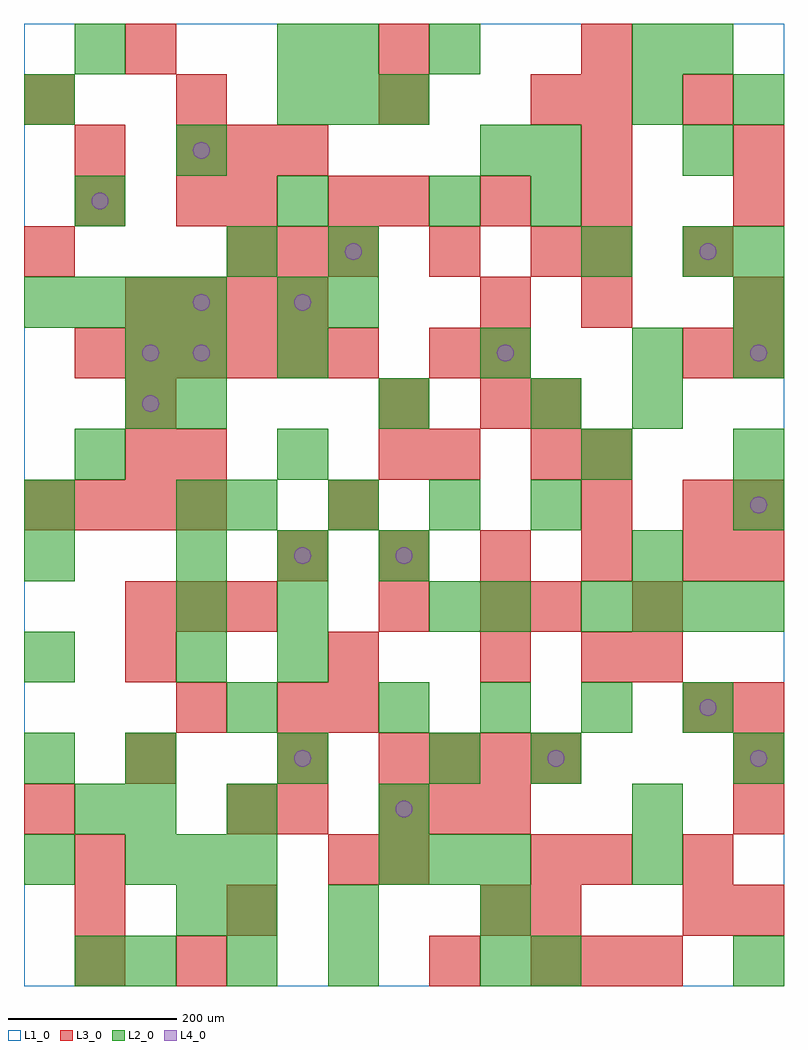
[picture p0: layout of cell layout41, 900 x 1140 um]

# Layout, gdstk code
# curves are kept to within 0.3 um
import gdstk
lib = gdstk.Library(unit=1e-6, precision=1e-09)
def R(c, l, rs):  # rectangles x0, y0, x1, y1
    for r in rs: c.add(gdstk.rectangle(r[:2], r[2:], *l))
def A(c, l, x, y, w, h, nx, ny, dx, dy):  # array of equal rectangles
    R(c, l, [(x+i*dx, y+j*dy, x+i*dx+w, y+j*dy+h) for i in range(nx) for j in range(ny)])
def P(c, l, *ps):  # polygons
    for p in ps: c.add(gdstk.Polygon(p, *l))
L1_0 = (1, 0)
L2_0 = (2, 0)
L3_0 = (3, 0)
L4_0 = (4, 0)

layout41 = lib.new_cell('layout41')
R(layout41, L1_0, [(0,0,900,1140)])
A(layout41, L2_0, 120, 0, 60, 60, 3, 1, 120, 0)
A(layout41, L2_0, 240, 60, 60, 60, 1, 3, 0, 120)
A(layout41, L2_0, 0, 120, 60, 60, 1, 4, 0, 120)
A(layout41, L2_0, 120, 120, 60, 60, 3, 1, 60, 0)
A(layout41, L2_0, 420, 120, 60, 60, 3, 1, 60, 0)
A(layout41, L2_0, 120, 240, 60, 60, 3, 1, 180, 0)
A(layout41, L2_0, 420, 300, 60, 60, 4, 1, 120, 0)
A(layout41, L2_0, 180, 420, 60, 60, 1, 3, 0, 120)
A(layout41, L2_0, 660, 420, 60, 60, 4, 1, 60, 0)
A(layout41, L2_0, 180, 480, 60, 60, 3, 1, 120, 0)
A(layout41, L2_0, 240, 540, 60, 60, 4, 1, 120, 0)
A(layout41, L2_0, 840, 720, 60, 60, 1, 3, 0, 60)
A(layout41, L2_0, 0, 780, 60, 60, 4, 1, 60, 0)
A(layout41, L2_0, 780, 840, 60, 60, 1, 3, 0, 120)
A(layout41, L2_0, 300, 1020, 60, 60, 3, 1, 60, 0)
R(layout41, L2_0, [(60,0,120,60), (540,0,600,60), (600,0,660,60), (840,0,900,60), (180,60,240,120), (360,60,420,120), (540,60,600,120), (720,120,780,180), (60,180,120,240), (120,180,180,240), (420,180,480,240), (720,180,780,240), (600,240,660,300), (840,240,900,300), (180,360,240,420), (300,360,360,420), (300,420,360,480), (480,420,540,480), (540,420,600,480), (720,480,780,540), (0,540,60,600), (840,540,900,600), (60,600,120,660), (300,600,360,660), (660,600,720,660), (840,600,900,660), (120,660,180,720), (420,660,480,720), (600,660,660,720), (720,660,780,720), (120,720,180,780), (180,720,240,780), (300,720,360,780), (540,720,600,780), (720,720,780,780), (300,780,360,840), (360,780,420,840), (240,840,300,900), (360,840,420,900), (660,840,720,900), (60,900,120,960), (300,900,360,960), (480,900,540,960), (600,900,660,960), (180,960,240,1020), (540,960,600,1020), (600,960,660,1020), (0,1020,60,1080), (720,1020,780,1080), (840,1020,900,1080), (60,1080,120,1140), (300,1080,360,1140), (360,1080,420,1140), (480,1080,540,1140), (720,1080,780,1140)])
A(layout41, L3_0, 60, 0, 60, 60, 1, 3, 0, 60)
A(layout41, L3_0, 180, 0, 60, 60, 1, 4, 0, 300)
A(layout41, L3_0, 600, 0, 60, 60, 3, 1, 60, 0)
A(layout41, L3_0, 300, 180, 60, 60, 1, 3, 0, 60)
A(layout41, L3_0, 420, 180, 60, 60, 3, 1, 60, 0)
A(layout41, L3_0, 840, 180, 60, 60, 1, 3, 0, 60)
A(layout41, L3_0, 420, 240, 60, 60, 4, 1, 60, 0)
A(layout41, L3_0, 120, 420, 60, 60, 3, 1, 60, 0)
A(layout41, L3_0, 300, 480, 60, 60, 5, 1, 120, 0)
A(layout41, L3_0, 0, 540, 60, 60, 4, 1, 60, 0)
A(layout41, L3_0, 480, 600, 60, 60, 1, 3, 0, 120)
A(layout41, L3_0, 540, 660, 60, 60, 1, 3, 0, 60)
A(layout41, L3_0, 600, 660, 60, 60, 1, 3, 0, 180)
A(layout41, L3_0, 60, 720, 60, 60, 6, 1, 60, 0)
A(layout41, L3_0, 120, 780, 60, 60, 4, 1, 60, 0)
A(layout41, L3_0, 240, 840, 60, 60, 3, 1, 60, 0)
A(layout41, L3_0, 420, 900, 60, 60, 3, 1, 120, 0)
A(layout41, L3_0, 180, 960, 60, 60, 3, 1, 60, 0)
A(layout41, L3_0, 660, 960, 60, 60, 1, 3, 0, 60)
R(layout41, L3_0, [(480,0,540,60), (240,60,300,120), (540,60,600,120), (600,60,660,120), (780,60,840,120), (840,60,900,120), (360,120,420,180), (420,120,480,180), (600,120,660,180), (660,120,720,180), (780,120,840,180), (0,180,60,240), (240,180,300,240), (120,240,180,300), (360,300,420,360), (780,300,840,360), (120,360,180,420), (360,360,420,420), (540,360,600,420), (660,360,720,420), (720,360,780,420), (420,420,480,480), (540,420,600,480), (600,420,660,480), (720,420,780,480), (840,480,900,540), (360,540,420,600), (660,540,720,600), (780,540,840,600), (840,540,900,600), (120,600,180,660), (420,600,480,660), (600,600,660,660), (660,600,720,660), (120,660,180,720), (420,660,480,720), (780,720,840,780), (840,720,900,780), (660,780,720,840), (840,780,900,840), (0,840,60,900), (660,840,720,900), (780,840,840,900), (60,900,120,960), (240,900,300,960), (360,900,420,960), (840,900,900,960), (60,960,120,1020), (840,960,900,1020), (0,1020,60,1080), (180,1020,240,1080), (420,1020,480,1080), (780,1020,840,1080), (120,1080,180,1140), (420,1080,480,1140)])
P(layout41, L4_0, [(100,930),(99.239,933.827),(97.071,937.071),(93.827,939.239),(90,940),(86.173,939.239),(82.929,937.071),(80.761,933.827),(80,930),(80.761,926.173),(82.929,922.929),(86.173,920.761),(90,920),(93.827,920.761),(97.071,922.929),(99.239,926.173)],
  [(160,690),(159.239,693.827),(157.071,697.071),(153.827,699.239),(150,700),(146.173,699.239),(142.929,697.071),(140.761,693.827),(140,690),(140.761,686.173),(142.929,682.929),(146.173,680.761),(150,680),(153.827,680.761),(157.071,682.929),(159.239,686.173)],
  [(160,750),(159.239,753.827),(157.071,757.071),(153.827,759.239),(150,760),(146.173,759.239),(142.929,757.071),(140.761,753.827),(140,750),(140.761,746.173),(142.929,742.929),(146.173,740.761),(150,740),(153.827,740.761),(157.071,742.929),(159.239,746.173)],
  [(220,750),(219.239,753.827),(217.071,757.071),(213.827,759.239),(210,760),(206.173,759.239),(202.929,757.071),(200.761,753.827),(200,750),(200.761,746.173),(202.929,742.929),(206.173,740.761),(210,740),(213.827,740.761),(217.071,742.929),(219.239,746.173)],
  [(220,810),(219.239,813.827),(217.071,817.071),(213.827,819.239),(210,820),(206.173,819.239),(202.929,817.071),(200.761,813.827),(200,810),(200.761,806.173),(202.929,802.929),(206.173,800.761),(210,800),(213.827,800.761),(217.071,802.929),(219.239,806.173)],
  [(220,990),(219.239,993.827),(217.071,997.071),(213.827,999.239),(210,1000),(206.173,999.239),(202.929,997.071),(200.761,993.827),(200,990),(200.761,986.173),(202.929,982.929),(206.173,980.761),(210,980),(213.827,980.761),(217.071,982.929),(219.239,986.173)],
  [(340,270),(339.239,273.827),(337.071,277.071),(333.827,279.239),(330,280),(326.173,279.239),(322.929,277.071),(320.761,273.827),(320,270),(320.761,266.173),(322.929,262.929),(326.173,260.761),(330,260),(333.827,260.761),(337.071,262.929),(339.239,266.173)],
  [(340,510),(339.239,513.827),(337.071,517.071),(333.827,519.239),(330,520),(326.173,519.239),(322.929,517.071),(320.761,513.827),(320,510),(320.761,506.173),(322.929,502.929),(326.173,500.761),(330,500),(333.827,500.761),(337.071,502.929),(339.239,506.173)],
  [(340,810),(339.239,813.827),(337.071,817.071),(333.827,819.239),(330,820),(326.173,819.239),(322.929,817.071),(320.761,813.827),(320,810),(320.761,806.173),(322.929,802.929),(326.173,800.761),(330,800),(333.827,800.761),(337.071,802.929),(339.239,806.173)],
  [(400,870),(399.239,873.827),(397.071,877.071),(393.827,879.239),(390,880),(386.173,879.239),(382.929,877.071),(380.761,873.827),(380,870),(380.761,866.173),(382.929,862.929),(386.173,860.761),(390,860),(393.827,860.761),(397.071,862.929),(399.239,866.173)],
  [(460,210),(459.239,213.827),(457.071,217.071),(453.827,219.239),(450,220),(446.173,219.239),(442.929,217.071),(440.761,213.827),(440,210),(440.761,206.173),(442.929,202.929),(446.173,200.761),(450,200),(453.827,200.761),(457.071,202.929),(459.239,206.173)],
  [(460,510),(459.239,513.827),(457.071,517.071),(453.827,519.239),(450,520),(446.173,519.239),(442.929,517.071),(440.761,513.827),(440,510),(440.761,506.173),(442.929,502.929),(446.173,500.761),(450,500),(453.827,500.761),(457.071,502.929),(459.239,506.173)],
  [(580,750),(579.239,753.827),(577.071,757.071),(573.827,759.239),(570,760),(566.173,759.239),(562.929,757.071),(560.761,753.827),(560,750),(560.761,746.173),(562.929,742.929),(566.173,740.761),(570,740),(573.827,740.761),(577.071,742.929),(579.239,746.173)],
  [(640,270),(639.239,273.827),(637.071,277.071),(633.827,279.239),(630,280),(626.173,279.239),(622.929,277.071),(620.761,273.827),(620,270),(620.761,266.173),(622.929,262.929),(626.173,260.761),(630,260),(633.827,260.761),(637.071,262.929),(639.239,266.173)],
  [(820,330),(819.239,333.827),(817.071,337.071),(813.827,339.239),(810,340),(806.173,339.239),(802.929,337.071),(800.761,333.827),(800,330),(800.761,326.173),(802.929,322.929),(806.173,320.761),(810,320),(813.827,320.761),(817.071,322.929),(819.239,326.173)],
  [(820,870),(819.239,873.827),(817.071,877.071),(813.827,879.239),(810,880),(806.173,879.239),(802.929,877.071),(800.761,873.827),(800,870),(800.761,866.173),(802.929,862.929),(806.173,860.761),(810,860),(813.827,860.761),(817.071,862.929),(819.239,866.173)],
  [(880,270),(879.239,273.827),(877.071,277.071),(873.827,279.239),(870,280),(866.173,279.239),(862.929,277.071),(860.761,273.827),(860,270),(860.761,266.173),(862.929,262.929),(866.173,260.761),(870,260),(873.827,260.761),(877.071,262.929),(879.239,266.173)],
  [(880,570),(879.239,573.827),(877.071,577.071),(873.827,579.239),(870,580),(866.173,579.239),(862.929,577.071),(860.761,573.827),(860,570),(860.761,566.173),(862.929,562.929),(866.173,560.761),(870,560),(873.827,560.761),(877.071,562.929),(879.239,566.173)],
  [(880,750),(879.239,753.827),(877.071,757.071),(873.827,759.239),(870,760),(866.173,759.239),(862.929,757.071),(860.761,753.827),(860,750),(860.761,746.173),(862.929,742.929),(866.173,740.761),(870,740),(873.827,740.761),(877.071,742.929),(879.239,746.173)])

lib.write_gds('layout41.gds')
